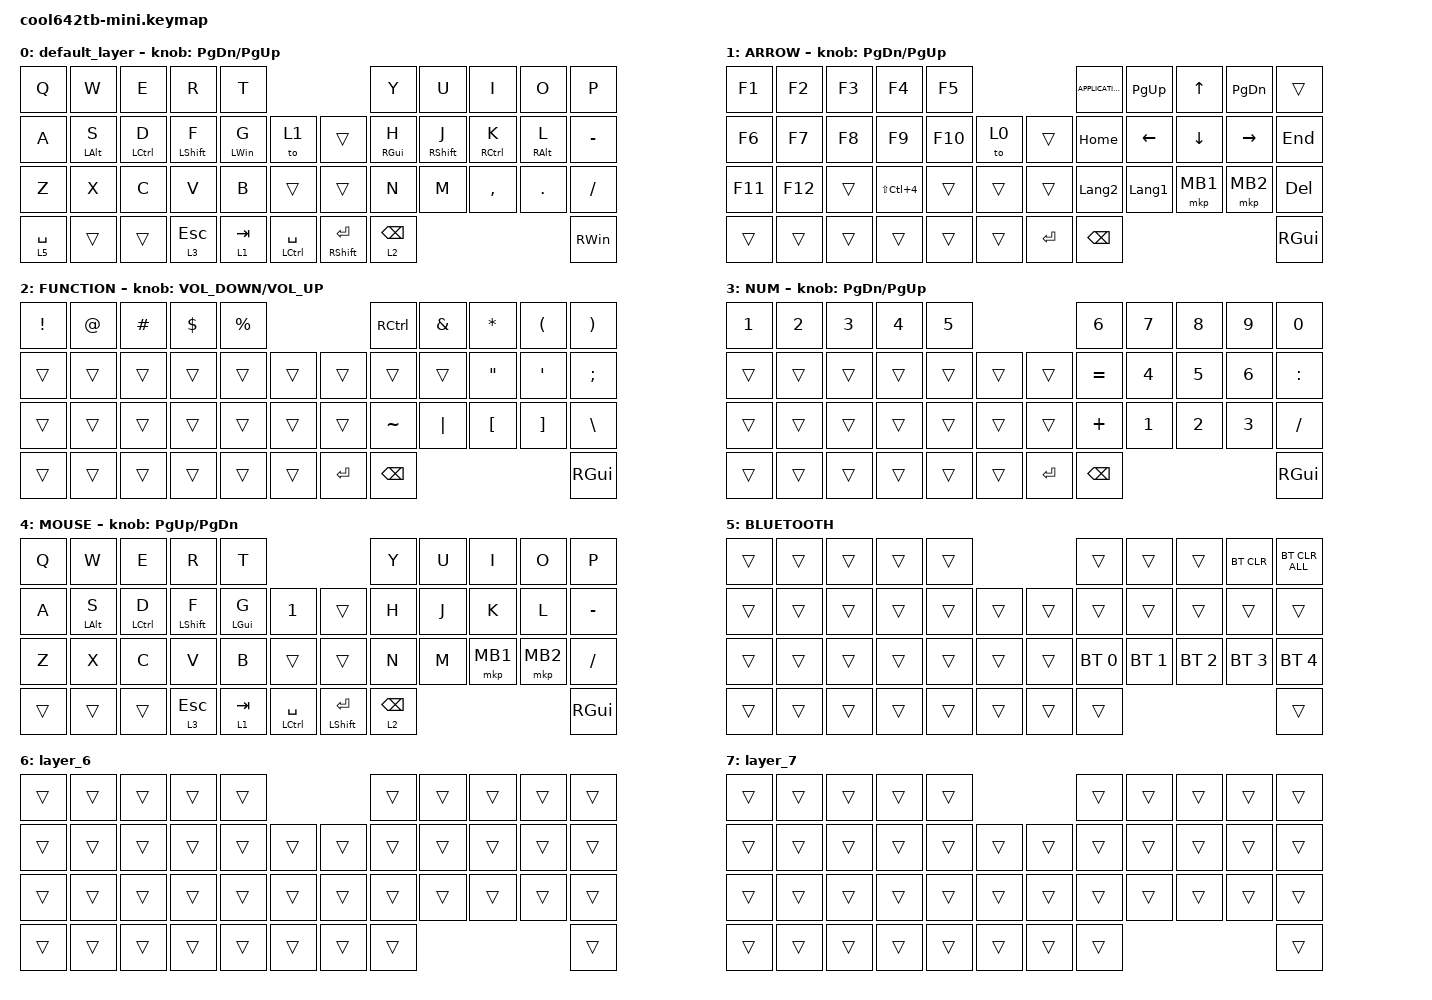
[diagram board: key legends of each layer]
#include <behaviors.dtsi>
#include <dt-bindings/zmk/bt.h>
#include <dt-bindings/zmk/keys.h>
#include <dt-bindings/zmk/pointing.h>

#define MOUSE 4
#define SCROLL 5
#define NUM 6
#define ZMK_POINTING_DEFAULT_SCRL_VAL 80

&mt {
    flavor = "balanced";
    quick-tap-ms = <0>;
};

/ {
    combos {
        compatible = "zmk,combos";

        shift_tab {
            bindings = <&kp LANG2>;
            key-positions = <12 13>;
        };

        lang {
            bindings = <&kp LANG1>;
            key-positions = <18 19>;
        };
    };

    behaviors {
        encoder_msc_down_up: encoder_msc_down_up {
            compatible = "zmk,behavior-sensor-rotate";
            label = "ENCODER_MSC_DOWN_UP";
            #sensor-binding-cells = <0>;
            bindings = <&msc SCRL_UP>, <&msc SCRL_DOWN>;

            tap-ms = <20>;
        };
    };

    macros {
        to_layer_0: to_layer_0 {
            compatible = "zmk,behavior-macro-one-param";
            #binding-cells = <1>;
            bindings = <&to 0 &macro_param_1to1 &kp MACRO_PLACEHOLDER>;
            label = "TO_LAYER_0";
        };
    };

    keymap {
        compatible = "zmk,keymap";

        default_layer {
            bindings = <
&kp Q        &kp W           &kp E        &kp R             &kp T                                                       &kp Y            &kp U              &kp I        &kp O            &kp P
&kp A        &mt LEFT_ALT S  &mt LCTRL D  &mt LEFT_SHIFT F  &mt LEFT_WIN G  &to 1                &trans                 &mt RIGHT_GUI H  &mt RIGHT_SHIFT J  &mt RCTRL K  &mt RIGHT_ALT L  &kp MINUS
&kp Z        &kp X           &kp C        &kp V             &kp B           &trans               &trans                 &kp N            &kp M              &kp COMMA    &kp DOT          &kp SLASH
&lt 5 SPACE  &trans          &trans       &lt 3 ESCAPE      &lt 1 TAB       &mt LCTRL SPACE      &mt RIGHT_SHIFT ENTER  &lt 2 BACKSPACE                                                   &kp RIGHT_WIN
            >;

            sensor-bindings = <&inc_dec_kp PAGE_DOWN PAGE_UP>;
        };

        ARROW {
            bindings = <
&kp F1   &kp F2   &kp F3  &kp F4          &kp F5                          &kp K_APPLICATION  &kp PAGE_UP     &kp UP_ARROW  &kp PAGE_DOWN    &trans
&kp F6   &kp F7   &kp F8  &kp F9          &kp F10  &to 0       &trans     &kp HOME           &kp LEFT        &kp DOWN      &kp RIGHT_ARROW  &kp END
&kp F11  &kp F12  &trans  &kp LS(LC(N4))  &trans   &trans      &trans     &kp LANGUAGE_2     &kp LANGUAGE_1  &mkp MB1      &mkp MB2         &kp DEL
&trans   &trans   &trans  &trans          &trans   &trans      &kp ENTER  &kp BSPC                                                          &kp RGUI
            >;

            sensor-bindings = <&inc_dec_kp PAGE_DOWN PAGE_UP>;
        };

        FUNCTION {
            bindings = <
&kp EXCLAMATION  &kp AT_SIGN  &kp POUND  &kp DOLLAR  &kp PERCENT                         &kp RCTRL  &kp AMPERSAND  &kp ASTERISK       &kp LEFT_PARENTHESIS  &kp RIGHT_PARENTHESIS
&trans           &trans       &trans     &trans      &trans       &trans      &trans     &trans     &trans         &kp DOUBLE_QUOTES  &kp APOS              &kp SEMI
&trans           &trans       &trans     &trans      &trans       &trans      &trans     &kp TILDE  &kp PIPE       &kp LBKT           &kp RBKT              &kp BSLH
&trans           &trans       &trans     &trans      &trans       &trans      &kp ENTER  &kp BSPC                                                           &kp RGUI
            >;

            sensor-bindings = <&inc_dec_kp C_VOLUME_DOWN C_VOLUME_UP>;
        };

        NUM {
            bindings = <
&kp N1  &kp N2  &kp N3  &kp N4  &kp N5                       &kp N6     &kp N7  &kp N8  &kp N9  &kp N0
&trans  &trans  &trans  &trans  &trans  &trans      &trans   &kp EQUAL  &kp N4  &kp N5  &kp N6  &kp COLON
&trans  &trans  &trans  &trans  &trans  &trans      &trans   &kp PLUS   &kp N1  &kp N2  &kp N3  &kp FSLH
&trans  &trans  &trans  &trans  &trans  &trans      &kp RET  &kp BSPC                           &kp RGUI
            >;

            sensor-bindings = <&inc_dec_kp PAGE_DOWN PAGE_UP>;
        };

        MOUSE {
            bindings = <
&kp Q   &kp W           &kp E        &kp R             &kp T                                                      &kp Y            &kp U  &kp I     &kp O     &kp P
&kp A   &mt LEFT_ALT S  &mt LCTRL D  &mt LEFT_SHIFT F  &mt LEFT_GUI G  &kp N1               &trans                &kp H            &kp J  &kp K     &kp L     &kp MINUS
&kp Z   &kp X           &kp C        &kp V             &kp B           &trans               &trans                &kp N            &kp M  &mkp MB1  &mkp MB2  &kp FSLH
&trans  &trans          &trans       &lt 3 ESCAPE      &lt 1 TAB       &mt LCTRL SPACE      &mt LEFT_SHIFT ENTER  &lt 2 BACKSPACE                             &kp RGUI
            >;

            sensor-bindings = <&inc_dec_kp PAGE_UP PAGE_DOWN>;
        };

        BLUETOOTH {
            bindings = <
&trans  &trans  &trans  &trans  &trans                      &trans        &trans        &trans        &bt BT_CLR    &bt BT_CLR_ALL
&trans  &trans  &trans  &trans  &trans  &trans      &trans  &trans        &trans        &trans        &trans        &trans
&trans  &trans  &trans  &trans  &trans  &trans      &trans  &bt BT_SEL 0  &bt BT_SEL 1  &bt BT_SEL 2  &bt BT_SEL 3  &bt BT_SEL 4
&trans  &trans  &trans  &trans  &trans  &trans      &trans  &trans                                                  &trans
            >;
        };

        layer_6 {
            bindings = <
&trans  &trans  &trans  &trans  &trans                      &trans  &trans  &trans  &trans  &trans
&trans  &trans  &trans  &trans  &trans  &trans      &trans  &trans  &trans  &trans  &trans  &trans
&trans  &trans  &trans  &trans  &trans  &trans      &trans  &trans  &trans  &trans  &trans  &trans
&trans  &trans  &trans  &trans  &trans  &trans      &trans  &trans                          &trans
            >;
        };

        layer_7 {
            bindings = <
&trans  &trans  &trans  &trans  &trans                      &trans  &trans  &trans  &trans  &trans
&trans  &trans  &trans  &trans  &trans  &trans      &trans  &trans  &trans  &trans  &trans  &trans
&trans  &trans  &trans  &trans  &trans  &trans      &trans  &trans  &trans  &trans  &trans  &trans
&trans  &trans  &trans  &trans  &trans  &trans      &trans  &trans                          &trans
            >;
        };
    };
};
